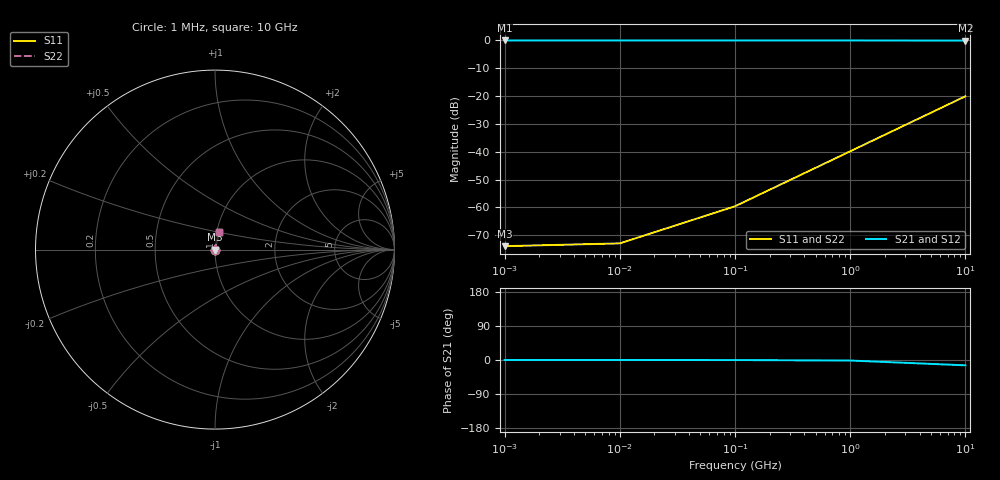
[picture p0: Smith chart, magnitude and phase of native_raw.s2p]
! Sonnet Data File
! From: em Version : 18.53-Lite
! From Project: project
! Data is NOT De-embedded
! Data File Written: 10/07/2026 06:27:21
!< HDATE 10/07/2026 06:27:21
!< MDATE 10/07/2026 06:27:21
# GHZ S RI R 50.00000
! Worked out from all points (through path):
!   5 points, 1 MHz to 10 GHz, reference 50 ohm
!   highest |S21| = 0.00 dB at 1 MHz (marker M1); lowest = -0.1 dB at 10 GHz (marker M2)
!   lowest |S11| = -74.0 dB at 1 MHz (marker M3), VSWR 1.00, Z = 50 + j0.00103 ohm
!   |S11| at or under -10 dB: start of sweep to end of sweep
!   |S22| runs from -74.0 to -20.1 dB; largest |S21 - S12| = 1.3e-12
0.001  0.0002 1.03e-05  0.9998 -2.49e-05  0.9998 -2.49e-05  0.0002 1.03e-05
0.01  0.0002 0.000103  0.9998 -0.000248  0.9998 -0.000248  0.0002 0.000103
0.1  0.000205 0.00102  0.9998 -0.00248  0.9998 -0.00248  0.000205 0.00102
1  0.000508 0.0102  0.9994 -0.0247  0.9994 -0.0247  0.000507 0.0102
10  0.0249 0.096  0.9646 -0.2411  0.9646 -0.2411  0.0248 0.096
